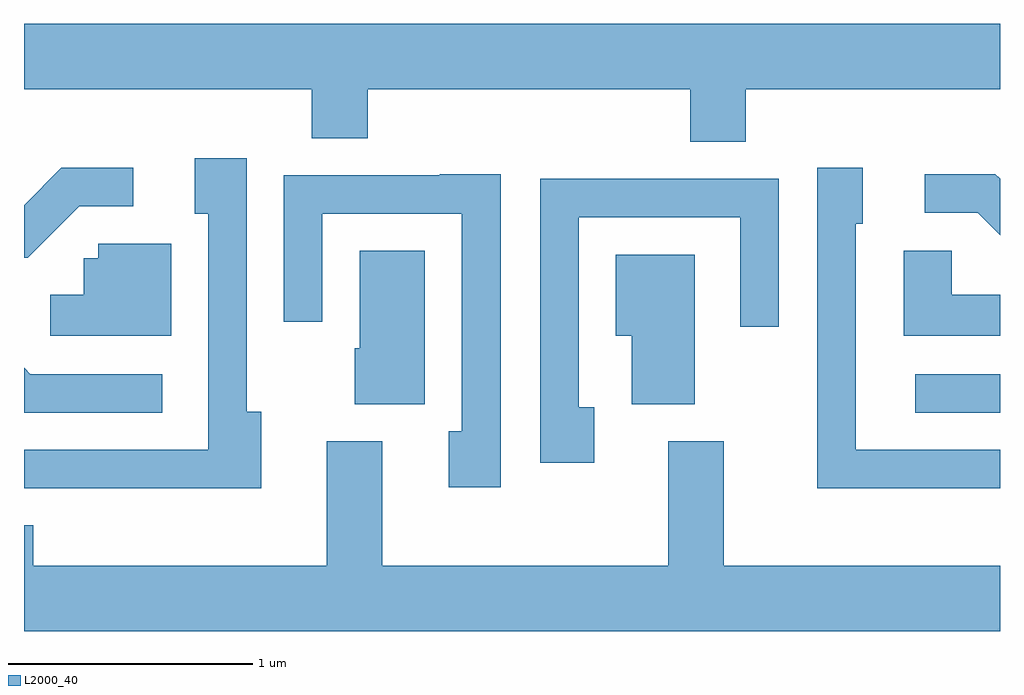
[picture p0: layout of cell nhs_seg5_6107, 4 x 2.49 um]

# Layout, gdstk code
import gdstk
lib = gdstk.Library(unit=1e-6, precision=1e-09)
def R(c, l, rs):  # rectangles x0, y0, x1, y1
    for r in rs: c.add(gdstk.rectangle(r[:2], r[2:], *l))
def P(c, l, *ps):  # polygons
    for p in ps: c.add(gdstk.Polygon(p, *l))
L2000_40 = (2000, 40)

nhs_seg5_6107 = lib.new_cell('nhs_seg5_6107')
R(nhs_seg5_6107, L2000_40, [(369.263,1493.211,369.611,1493.369)])
P(nhs_seg5_6107, L2000_40, [(368.569,1494.536),(369.611,1494.536),(369.611,1494.804),(365.611,1494.804),(365.611,1494.536),(366.791,1494.536),(366.791,1494.336),(367.019,1494.336),(367.019,1494.536),(368.341,1494.536),(368.341,1494.321),(368.569,1494.321)],
  [(366.584,1493.214),(366.524,1493.214),(366.524,1494.254),(366.311,1494.254),(366.311,1494.026),(366.366,1494.026),(366.366,1493.059),(365.611,1493.059),(365.611,1492.901),(366.584,1492.901)],
  [(365.837,1494.056),(366.058,1494.056),(366.058,1494.214),(365.764,1494.214),(365.611,1494.061),(365.611,1493.846),(365.627,1493.846)],
  [(369.611,1493.059),(369.019,1493.059),(369.019,1493.986),(369.049,1493.986),(369.049,1494.214),(368.861,1494.214),(368.861,1492.901),(369.611,1492.901)],
  [(367.564,1494.189),(367.315,1494.189),(367.315,1494.184),(366.676,1494.184),(366.676,1493.583),(366.834,1493.583),(366.834,1494.026),(367.406,1494.026),(367.406,1493.134),(367.351,1493.134),(367.351,1492.906),(367.564,1492.906)],
  [(369.611,1494.17),(369.592,1494.189),(369.303,1494.189),(369.303,1494.031),(369.519,1494.031),(369.611,1493.939)],
  [(367.949,1493.234),(367.884,1493.234),(367.884,1494.011),(368.546,1494.011),(368.546,1493.563),(368.704,1493.563),(368.704,1494.169),(367.726,1494.169),(367.726,1493.006),(367.949,1493.006)],
  [(366.214,1493.904),(365.916,1493.904),(365.916,1493.844),(365.856,1493.844),(365.856,1493.694),(365.718,1493.694),(365.718,1493.526),(366.214,1493.526)],
  [(369.611,1493.694),(369.414,1493.694),(369.414,1493.874),(369.216,1493.874),(369.216,1493.526),(369.611,1493.526)],
  [(367.254,1493.874),(366.986,1493.874),(366.986,1493.474),(366.966,1493.474),(366.966,1493.246),(367.254,1493.246)],
  [(368.359,1493.859),(368.036,1493.859),(368.036,1493.526),(368.101,1493.526),(368.101,1493.246),(368.359,1493.246)],
  [(366.178,1493.369),(365.637,1493.369),(365.611,1493.395),(365.611,1493.211),(366.178,1493.211)],
  [(369.611,1492.584),(368.479,1492.584),(368.479,1493.094),(368.251,1493.094),(368.251,1492.584),(367.079,1492.584),(367.079,1493.094),(366.851,1493.094),(366.851,1492.584),(365.649,1492.584),(365.649,1492.749),(365.611,1492.749),(365.611,1492.316),(369.611,1492.316)])

lib.write_gds('nhs_seg5_6107.gds')
